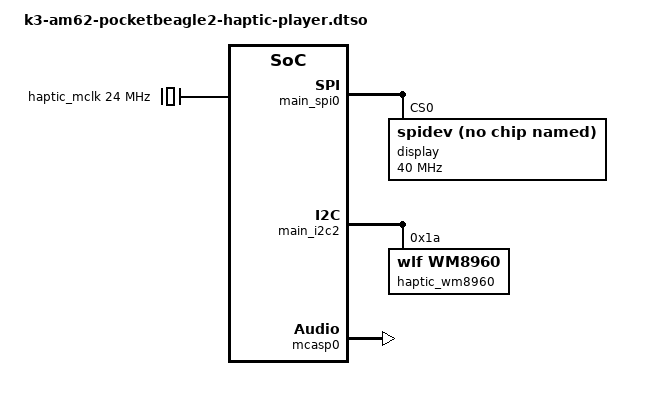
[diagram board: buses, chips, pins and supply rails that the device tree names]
// SPDX-License-Identifier: GPL-2.0-only OR MIT
/*
 * haptic_audio_player: everything the player needs from the PocketBeagle 2
 * device tree, in one overlay.
 *
 *  - I2S audio: McASP0 <-> WM8960 (Adafruit Voice Bonnet, wired by jumpers)
 *      P2.01 MCASP0_ACLKX  BCLK   (input, codec is clock master)
 *      P1.04 MCASP0_AFSX   LRCLK  (input)
 *      P1.02 MCASP0_AXR0   DAC data  host -> codec  (serializer 0, TX)
 *      P2.03A MCASP0_AXR1  ADC data  codec -> host  (serializer 1, RX)
 *    codec control: WM8960 @0x1a on main_i2c2 (P1.26 SDA / P1.28 SCL,
 *    already muxed + enabled by the stock base DTS - see
 *    docs/reference/devicetree-base-findings.md)
 *    MCLK: on-board oscillator of the bonnet (assumed 24 MHz, see below)
 *  - ecap2 is disabled: the stock DTS lets it claim pad 0x1a4 (= P2.01 =
 *    MCASP0_ACLKX), which would make McASP0 fail with a pin conflict.
 *  - SPI0 (P2.25 MOSI / P2.29 SCLK / P2.31 CS0) for the ST7789 display:
 *    pinctrl re-declared with the kernel-default direction (D0 = MISO in,
 *    D1 = MOSI out; the stock group has D0 as output) and a spidev child.
 *  - GPIO pads (the stock DTS has the gpio0/gpio1 pinctrl commented out, so
 *    the pads keep their reset mux with the input buffer OFF):
 *      buttons (mode 7, pull-up): P2.02 P2.04 P2.06 P2.08
 *      display control (outputs): P2.17 DC, P2.18 RST, P2.22 BL
 *      touch (reserved):          P2.24 INT (in), P2.28 RST (out)
 *
 * Pad offsets = register address - 0xF4000 from the official pin table
 * (docs/reference/pocketbeagle2-pinout.md). Flags/mode style copied from
 * the stock pocketbeagle2 pinmux dtsi and the sibling light-desk overlays.
 *
 * UNTESTED ON HARDWARE - written from the DTS sources. First things to
 * check at bring-up are listed in docs/BRING-UP.md.
 */

#include "ti/k3-pinctrl.h"

/dts-v1/;
/plugin/;

&{/chosen} {
	overlays {
		k3-am62-pocketbeagle2-haptic-player.kernel = __TIMESTAMP__;
	};
};

&{/} {
	/* the bonnet's MCLK oscillator (OSC1, ECS-3225MV). FREQUENCY ASSUMED:
	 * read the marking / measure it and adjust. It only runs while the
	 * bonnet's privacy switch is ON. */
	haptic_mclk: haptic-mclk {
		compatible = "fixed-clock";
		#clock-cells = <0>;
		clock-frequency = <24000000>;
	};

	sound-haptic {
		compatible = "simple-audio-card";
		simple-audio-card,name = "haptic";
		simple-audio-card,format = "i2s";
		simple-audio-card,bitclock-master = <&haptic_codec_dai>;
		simple-audio-card,frame-master = <&haptic_codec_dai>;

		simple-audio-card,cpu {
			sound-dai = <&mcasp0>;
		};

		haptic_codec_dai: simple-audio-card,codec {
			sound-dai = <&haptic_wm8960>;
			clocks = <&haptic_mclk>;
		};
	};
};

&main_pmx0 {
	haptic_mcasp0_pins: haptic-mcasp0-pins {
		pinctrl-single,pins = <
			AM62X_IOPAD(0x01a4, PIN_INPUT, 0)  /* (B20) P2.01  MCASP0_ACLKX  BCLK  */
			AM62X_IOPAD(0x01a8, PIN_INPUT, 0)  /* (D20) P1.04  MCASP0_AFSX   LRCLK */
			AM62X_IOPAD(0x01a0, PIN_OUTPUT, 0) /* (E18) P1.02  MCASP0_AXR0   DAC   */
			AM62X_IOPAD(0x019c, PIN_INPUT, 0)  /* (B18) P2.03A MCASP0_AXR1   ADC   */
		>;
	};

	haptic_spi0_pins: haptic-spi0-pins {
		pinctrl-single,pins = <
			AM62X_IOPAD(0x01bc, PIN_OUTPUT, 0) /* (A14) P2.29 SPI0_CLK  */
			AM62X_IOPAD(0x01c0, PIN_INPUT, 0)  /* (B13) P2.27 SPI0_D0 = MISO (unused) */
			AM62X_IOPAD(0x01c4, PIN_OUTPUT, 0) /* (B14) P2.25 SPI0_D1 = MOSI */
			AM62X_IOPAD(0x01b4, PIN_OUTPUT, 0) /* (A13) P2.31 SPI0_CS0  */
		>;
	};

	haptic_buttons_pins: haptic-buttons-pins {
		pinctrl-single,pins = <
			AM62X_IOPAD(0x00b8, PIN_INPUT_PULLUP, 7) /* (U22) P2.02 GPIO0_45 play/pause */
			AM62X_IOPAD(0x00bc, PIN_INPUT_PULLUP, 7) /* (V24) P2.04 GPIO0_46 record     */
			AM62X_IOPAD(0x00c0, PIN_INPUT_PULLUP, 7) /* (W25) P2.06 GPIO0_47 prev       */
			AM62X_IOPAD(0x00c4, PIN_INPUT_PULLUP, 7) /* (W24) P2.08 GPIO0_48 next       */
		>;
	};

	haptic_display_pins: haptic-display-pins {
		pinctrl-single,pins = <
			AM62X_IOPAD(0x0104, PIN_OUTPUT, 7)       /* (AC24) P2.17 GPIO0_64 LCD_DC  */
			AM62X_IOPAD(0x00d8, PIN_OUTPUT, 7)       /* (V21)  P2.18 GPIO0_53 LCD_RST */
			AM62X_IOPAD(0x0100, PIN_OUTPUT, 7)       /* (AC25) P2.22 GPIO0_63 LCD_BL  */
			AM62X_IOPAD(0x00d0, PIN_INPUT_PULLUP, 7) /* (Y23)  P2.24 GPIO0_51 TP_INT  */
			AM62X_IOPAD(0x00f8, PIN_OUTPUT, 7)       /* (AB24) P2.28 GPIO0_61 TP_RST  */
		>;
	};
};

/* GPIO pads: the gpio controllers have no pinctrl in the stock DTS, so hang
 * ours on them (device-level pinctrl is applied when the controller probes). */
&main_gpio0 {
	pinctrl-names = "default";
	pinctrl-0 = <&haptic_buttons_pins &haptic_display_pins>;
};

&ecap2 {
	status = "disabled";
};

&main_spi0 {
	pinctrl-names = "default";
	pinctrl-0 = <&haptic_spi0_pins>;
	#address-cells = <1>;
	#size-cells = <0>;
	status = "okay";

	/* userspace SPI access for the display ("rohm,dh2228fv" is one of the
	 * compatibles the kernel's spidev driver accepts) */
	display@0 {
		compatible = "rohm,dh2228fv";
		reg = <0>;
		spi-max-frequency = <40000000>;
	};
};

&main_i2c2 {
	#address-cells = <1>;
	#size-cells = <0>;

	haptic_wm8960: codec@1a {
		compatible = "wlf,wm8960";
		reg = <0x1a>;
		#sound-dai-cells = <0>;
		clocks = <&haptic_mclk>;
		clock-names = "mclk";
		wlf,shared-lrclk;	/* ADCLRC and DACLRC are one net on the bonnet */
	};
};

&mcasp0 {
	status = "okay";
	#sound-dai-cells = <0>;
	pinctrl-names = "default";
	pinctrl-0 = <&haptic_mcasp0_pins>;
	op-mode = <0>;		/* I2S */
	tdm-slots = <2>;
	serial-dir = <		/* 0: inactive, 1: TX, 2: RX */
		1 2 0 0
	>;
	tx-num-evt = <0>;
	rx-num-evt = <0>;
};
